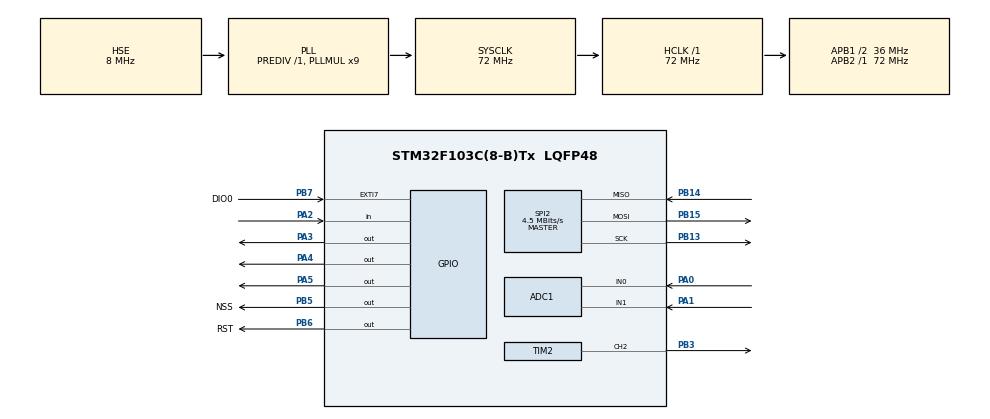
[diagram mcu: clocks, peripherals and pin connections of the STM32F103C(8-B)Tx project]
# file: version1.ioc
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ADC1.Channel-0\#ChannelRegularConversion=ADC_CHANNEL_0
ADC1.Channel-1\#ChannelRegularConversion=ADC_CHANNEL_1
ADC1.ContinuousConvMode=ENABLE
ADC1.NbrOfConversion=2
ADC1.NbrOfConversionFlag=1
ADC1.Rank-0\#ChannelRegularConversion=1
ADC1.Rank-1\#ChannelRegularConversion=2
ADC1.SamplingTime-0\#ChannelRegularConversion=ADC_SAMPLETIME_239CYCLES_5
ADC1.SamplingTime-1\#ChannelRegularConversion=ADC_SAMPLETIME_239CYCLES_5
ADC1.master=1
Dma.ADC1.0.Direction=DMA_PERIPH_TO_MEMORY
Dma.ADC1.0.Instance=DMA1_Channel1
Dma.ADC1.0.MemDataAlignment=DMA_MDATAALIGN_HALFWORD
Dma.ADC1.0.MemInc=DMA_MINC_ENABLE
Dma.ADC1.0.Mode=DMA_CIRCULAR
Dma.ADC1.0.PeriphDataAlignment=DMA_PDATAALIGN_HALFWORD
Dma.ADC1.0.PeriphInc=DMA_PINC_DISABLE
Dma.ADC1.0.Priority=DMA_PRIORITY_LOW
Dma.Request0=ADC1
FREERTOS.Tasks01=defaultTask,0,128,StartDefaultTask,Default,NULL,Dynamic,NULL,NULL
Mcu.Family=STM32F1
Mcu.Name=STM32F103C(8-B)Tx
Mcu.Package=LQFP48
NVIC.DMA1_Channel1_IRQn=true\:5\:0\:false\:false\:true\:true\:false\:true\:true
NVIC.PriorityGroup=NVIC_PRIORITYGROUP_4
NVIC.TIM4_IRQn=true\:15\:0\:false\:false\:true\:false\:false\:true\:true
NVIC.TimeBase=TIM4_IRQn
NVIC.TimeBaseIP=TIM4
PA0-WKUP.Signal=ADCx_IN0
PA1.Signal=ADCx_IN1
PA13.Mode=Serial_Wire
PA13.Signal=SYS_JTMS-SWDIO
PA14.Mode=Serial_Wire
PA14.Signal=SYS_JTCK-SWCLK
PA2.GPIO_PuPd=GPIO_PULLUP
PA2.Signal=GPIO_Input
PA3.Signal=GPIO_Output
PA4.PinState=GPIO_PIN_SET
PA4.Signal=GPIO_Output
PA5.PinState=GPIO_PIN_SET
PA5.Signal=GPIO_Output
PB13.Mode=Full_Duplex_Master
PB13.Signal=SPI2_SCK
PB14.Mode=Full_Duplex_Master
PB14.Signal=SPI2_MISO
PB15.Mode=Full_Duplex_Master
PB15.Signal=SPI2_MOSI
PB3.Signal=S_TIM2_CH2
PB5.GPIO_Label=NSS
PB5.PinState=GPIO_PIN_SET
PB5.Signal=GPIO_Output
PB6.GPIO_Label=RST
PB6.PinState=GPIO_PIN_SET
PB6.Signal=GPIO_Output
PB7.GPIO_Label=DIO0
PB7.GPIO_ModeDefaultEXTI=GPIO_MODE_IT_RISING
PB7.Signal=GPXTI7
PD0-OSC_IN.Mode=HSE-External-Oscillator
PD0-OSC_IN.Signal=RCC_OSC_IN
PD1-OSC_OUT.Mode=HSE-External-Oscillator
PD1-OSC_OUT.Signal=RCC_OSC_OUT
ProjectManager.HeapSize=0x200
ProjectManager.StackSize=0x400
ProjectManager.TargetToolchain=MDK-ARM V5.32
RCC.ADCPresc=RCC_ADCPCLK2_DIV6
RCC.AHBFreq_Value=72000000
RCC.APB1CLKDivider=RCC_HCLK_DIV2
RCC.APB1Freq_Value=36000000
RCC.APB1TimFreq_Value=72000000
RCC.APB2Freq_Value=72000000
RCC.APB2TimFreq_Value=72000000
RCC.HCLKFreq_Value=72000000
RCC.PLLMUL=RCC_PLL_MUL9
RCC.PLLSourceVirtual=RCC_PLLSOURCE_HSE
RCC.SYSCLKFreq_VALUE=72000000
RCC.SYSCLKSource=RCC_SYSCLKSOURCE_PLLCLK
RCC.USBFreq_Value=72000000
SH.ADCx_IN0.0=ADC1_IN0,IN0
SH.ADCx_IN1.0=ADC1_IN1,IN1
SH.S_TIM2_CH2.0=TIM2_CH2,PWM Generation2 CH2
SPI2.BaudRatePrescaler=SPI_BAUDRATEPRESCALER_8
SPI2.CalculateBaudRate=4.5 MBits/s
SPI2.Direction=SPI_DIRECTION_2LINES
SPI2.Mode=SPI_MODE_MASTER
SPI2.VirtualType=VM_MASTER
TIM2.Channel-PWM\ Generation2\ CH2=TIM_CHANNEL_2
TIM2.Period=1000-1
TIM2.Prescaler=1440-1
VP_FREERTOS_VS_CMSIS_V1.Mode=CMSIS_V1
VP_SYS_VS_tim4.Mode=TIM4
VP_TIM2_VS_ClockSourceINT.Mode=Internal
board=custom

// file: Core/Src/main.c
/* USER CODE BEGIN Header */
/**
  ******************************************************************************
  * @file           : main.c
  * @brief          : Main program body
  ******************************************************************************
  * @attention
  *
  * Copyright (c) 2023 STMicroelectronics.
  * All rights reserved.
  *
  * This software is licensed under terms that can be found in the LICENSE file
  * in the root directory of this software component.
  * If no LICENSE file comes with this software, it is provided AS-IS.
  *
  ******************************************************************************
  */
/* USER CODE END Header */
#include "main.h"
#include "cmsis_os.h"
#include "dht11.h"
#include "HX711_v1.h"
#include "LoRa.h"

/* USER CODE BEGIN PD */
//#define EVENT0 (1UL << 0)
#define EVENT0 (1UL << 0)
/* USER CODE END PD */

ADC_HandleTypeDef hadc1;
DMA_HandleTypeDef hdma_adc1;

SPI_HandleTypeDef hspi2;

TIM_HandleTypeDef htim2;

/* USER CODE BEGIN PV */
TaskHandle_t ADCTaskHandle;
TaskHandle_t LoRaTaskHandle;
TaskHandle_t DhtTaskHandle;
EventGroupHandle_t LoRaEventGroupHandle;
EventBits_t BitsToWaitForOn;

uint16_t adc[2];
uint8_t i;
uint8_t data_transmit[4] = {0, 0, 0, 0};
LoRa myLoRa;
uint8_t LoRa_state = 0;
uint8_t LoRa_flag = 0;
uint8_t Dht_flag = 0;
DHT_DataTypeDef DHT_Data;
uint8_t Hum, Tem;
/* USER CODE END PV */

void SystemClock_Config(void);
static void MX_GPIO_Init(void);
static void MX_DMA_Init(void);
static void MX_ADC1_Init(void);
static void MX_SPI2_Init(void);
static void MX_TIM2_Init(void);

/* USER CODE BEGIN PFP */
void ADCTask(void *param);

void LoRaTask(void *param);

void DhtTask(void *param);

/* USER CODE END PFP */

int main(void)
{

  /* MCU Configuration--------------------------------------------------------*/

  /* Reset of all peripherals, Initializes the Flash interface and the Systick. */
  HAL_Init();

  /* Configure the system clock */
  SystemClock_Config();

  /* Initialize all configured peripherals */
  MX_GPIO_Init();
  MX_DMA_Init();
  MX_ADC1_Init();
  MX_SPI2_Init();
  MX_TIM2_Init();
  /* USER CODE BEGIN 2 */

	/* Config LoRa */
	myLoRa = newLoRa();
	myLoRa.CS_port = NSS_GPIO_Port;
	myLoRa.CS_pin = NSS_Pin;
	myLoRa.reset_port = RST_GPIO_Port;
	myLoRa.reset_pin = RST_Pin;
	myLoRa.DIO0_port = DIO0_GPIO_Port;
	myLoRa.DIO0_pin = DIO0_Pin;
	myLoRa.hSPIx = &hspi2;

	myLoRa.frequency = 433;
	myLoRa.spredingFactor = SF_7;
	myLoRa.bandWidth = BW_125KHz;
	myLoRa.crcRate = CR_4_5;
	myLoRa.power = POWER_20db;
	myLoRa.overCurrentProtection = 130;
	myLoRa.preamble = 9;

	if(LoRa_init(&myLoRa) == LORA_OK)
	{
		LoRa_state = 1;
	}

	//LoRa_startReceiving(&myLoRa);

//	if(LoRa_transmit(&myLoRa, data_transmit, 5, 500))
//	{
//		LoRa_flag = 1;
//	}

  /* USER CODE END 2 */

  /* Create the thread(s) */
  /* definition and creation of defaultTask */
  //osThreadDef(defaultTask, StartDefaultTask, osPriorityNormal, 0, 128);
  //defaultTaskHandle = osThreadCreate(osThread(defaultTask), NULL);

  /* USER CODE BEGIN RTOS_THREADS */
	xTaskCreate(ADCTask, "Task02", 128, NULL, 4, &ADCTaskHandle);
	xTaskCreate(LoRaTask, "Task01", 128, NULL, 5, &LoRaTaskHandle);
	xTaskCreate(DhtTask, "Task03", 128, NULL, 3, &DhtTaskHandle);
  /* add threads, ... */
  /* USER CODE END RTOS_THREADS */

  /* Start scheduler */
  osKernelStart();
  /* We should never get here as control is now taken by the scheduler */
  /* Infinite loop */
  while (1)
  {

  }
}

void SystemClock_Config(void)
{
  RCC_OscInitTypeDef RCC_OscInitStruct = {0};
  RCC_ClkInitTypeDef RCC_ClkInitStruct = {0};
  RCC_PeriphCLKInitTypeDef PeriphClkInit = {0};

  /** Initializes the RCC Oscillators according to the specified parameters
  * in the RCC_OscInitTypeDef structure.
  */
  RCC_OscInitStruct.OscillatorType = RCC_OSCILLATORTYPE_HSE;
  RCC_OscInitStruct.HSEState = RCC_HSE_ON;
  RCC_OscInitStruct.HSEPredivValue = RCC_HSE_PREDIV_DIV1;
  RCC_OscInitStruct.HSIState = RCC_HSI_ON;
  RCC_OscInitStruct.PLL.PLLState = RCC_PLL_ON;
  RCC_OscInitStruct.PLL.PLLSource = RCC_PLLSOURCE_HSE;
  RCC_OscInitStruct.PLL.PLLMUL = RCC_PLL_MUL9;
  if (HAL_RCC_OscConfig(&RCC_OscInitStruct) != HAL_OK)
  {
    Error_Handler();
  }

  /** Initializes the CPU, AHB and APB buses clocks
  */
  RCC_ClkInitStruct.ClockType = RCC_CLOCKTYPE_HCLK|RCC_CLOCKTYPE_SYSCLK
                              |RCC_CLOCKTYPE_PCLK1|RCC_CLOCKTYPE_PCLK2;
  RCC_ClkInitStruct.SYSCLKSource = RCC_SYSCLKSOURCE_PLLCLK;
  RCC_ClkInitStruct.AHBCLKDivider = RCC_SYSCLK_DIV1;
  RCC_ClkInitStruct.APB1CLKDivider = RCC_HCLK_DIV2;
  RCC_ClkInitStruct.APB2CLKDivider = RCC_HCLK_DIV1;

  if (HAL_RCC_ClockConfig(&RCC_ClkInitStruct, FLASH_LATENCY_2) != HAL_OK)
  {
    Error_Handler();
  }
  PeriphClkInit.PeriphClockSelection = RCC_PERIPHCLK_ADC;
  PeriphClkInit.AdcClockSelection = RCC_ADCPCLK2_DIV6;
  if (HAL_RCCEx_PeriphCLKConfig(&PeriphClkInit) != HAL_OK)
  {
    Error_Handler();
  }
}

static void MX_ADC1_Init(void)
{

  ADC_ChannelConfTypeDef sConfig = {0};

  /** Common config
  */
  hadc1.Instance = ADC1;
  hadc1.Init.ScanConvMode = ADC_SCAN_ENABLE;
  hadc1.Init.ContinuousConvMode = ENABLE;
  hadc1.Init.DiscontinuousConvMode = DISABLE;
  hadc1.Init.ExternalTrigConv = ADC_SOFTWARE_START;
  hadc1.Init.DataAlign = ADC_DATAALIGN_RIGHT;
  hadc1.Init.NbrOfConversion = 2;
  if (HAL_ADC_Init(&hadc1) != HAL_OK)
  {
    Error_Handler();
  }

  /** Configure Regular Channel
  */
  sConfig.Channel = ADC_CHANNEL_0;
  sConfig.Rank = ADC_REGULAR_RANK_1;
  sConfig.SamplingTime = ADC_SAMPLETIME_239CYCLES_5;
  if (HAL_ADC_ConfigChannel(&hadc1, &sConfig) != HAL_OK)
  {
    Error_Handler();
  }

  /** Configure Regular Channel
  */
  sConfig.Channel = ADC_CHANNEL_1;
  sConfig.Rank = ADC_REGULAR_RANK_2;
  if (HAL_ADC_ConfigChannel(&hadc1, &sConfig) != HAL_OK)
  {
    Error_Handler();
  }

}

static void MX_SPI2_Init(void)
{

  /* SPI2 parameter configuration*/
  hspi2.Instance = SPI2;
  hspi2.Init.Mode = SPI_MODE_MASTER;
  hspi2.Init.Direction = SPI_DIRECTION_2LINES;
  hspi2.Init.DataSize = SPI_DATASIZE_8BIT;
  hspi2.Init.CLKPolarity = SPI_POLARITY_LOW;
  hspi2.Init.CLKPhase = SPI_PHASE_1EDGE;
  hspi2.Init.NSS = SPI_NSS_SOFT;
  hspi2.Init.BaudRatePrescaler = SPI_BAUDRATEPRESCALER_8;
  hspi2.Init.FirstBit = SPI_FIRSTBIT_MSB;
  hspi2.Init.TIMode = SPI_TIMODE_DISABLE;
  hspi2.Init.CRCCalculation = SPI_CRCCALCULATION_DISABLE;
  hspi2.Init.CRCPolynomial = 10;
  if (HAL_SPI_Init(&hspi2) != HAL_OK)
  {
    Error_Handler();
  }

}

static void MX_TIM2_Init(void)
{

  TIM_ClockConfigTypeDef sClockSourceConfig = {0};
  TIM_MasterConfigTypeDef sMasterConfig = {0};
  TIM_OC_InitTypeDef sConfigOC = {0};

  htim2.Instance = TIM2;
  htim2.Init.Prescaler = 1440-1;
  htim2.Init.CounterMode = TIM_COUNTERMODE_UP;
  htim2.Init.Period = 1000-1;
  htim2.Init.ClockDivision = TIM_CLOCKDIVISION_DIV1;
  htim2.Init.AutoReloadPreload = TIM_AUTORELOAD_PRELOAD_DISABLE;
  if (HAL_TIM_Base_Init(&htim2) != HAL_OK)
  {
    Error_Handler();
  }
  sClockSourceConfig.ClockSource = TIM_CLOCKSOURCE_INTERNAL;
  if (HAL_TIM_ConfigClockSource(&htim2, &sClockSourceConfig) != HAL_OK)
  {
    Error_Handler();
  }
  if (HAL_TIM_PWM_Init(&htim2) != HAL_OK)
  {
    Error_Handler();
  }
  sMasterConfig.MasterOutputTrigger = TIM_TRGO_RESET;
  sMasterConfig.MasterSlaveMode = TIM_MASTERSLAVEMODE_DISABLE;
  if (HAL_TIMEx_MasterConfigSynchronization(&htim2, &sMasterConfig) != HAL_OK)
  {
    Error_Handler();
  }
  sConfigOC.OCMode = TIM_OCMODE_PWM1;
  sConfigOC.Pulse = 0;
  sConfigOC.OCPolarity = TIM_OCPOLARITY_HIGH;
  sConfigOC.OCFastMode = TIM_OCFAST_DISABLE;
  if (HAL_TIM_PWM_ConfigChannel(&htim2, &sConfigOC, TIM_CHANNEL_2) != HAL_OK)
  {
    Error_Handler();
  }
  HAL_TIM_MspPostInit(&htim2);

}

static void MX_DMA_Init(void)
{

  /* DMA controller clock enable */
  __HAL_RCC_DMA1_CLK_ENABLE();

  /* DMA interrupt init */
  /* DMA1_Channel1_IRQn interrupt configuration */
  HAL_NVIC_SetPriority(DMA1_Channel1_IRQn, 5, 0);
  HAL_NVIC_EnableIRQ(DMA1_Channel1_IRQn);

}

static void MX_GPIO_Init(void)
{
  GPIO_InitTypeDef GPIO_InitStruct = {0};

  /* GPIO Ports Clock Enable */
  __HAL_RCC_GPIOD_CLK_ENABLE();
  __HAL_RCC_GPIOA_CLK_ENABLE();
  __HAL_RCC_GPIOB_CLK_ENABLE();

  /*Configure GPIO pin Output Level */
  HAL_GPIO_WritePin(GPIOA, GPIO_PIN_3, GPIO_PIN_RESET);

  /*Configure GPIO pin Output Level */
  HAL_GPIO_WritePin(GPIOA, GPIO_PIN_4|GPIO_PIN_5, GPIO_PIN_SET);

  /*Configure GPIO pin Output Level */
  HAL_GPIO_WritePin(GPIOB, NSS_Pin|RST_Pin, GPIO_PIN_SET);

  /*Configure GPIO pin : PA2 */
  GPIO_InitStruct.Pin = GPIO_PIN_2;
  GPIO_InitStruct.Mode = GPIO_MODE_INPUT;
  GPIO_InitStruct.Pull = GPIO_PULLUP;
  HAL_GPIO_Init(GPIOA, &GPIO_InitStruct);

  /*Configure GPIO pins : PA3 PA4 PA5 */
  GPIO_InitStruct.Pin = GPIO_PIN_3|GPIO_PIN_4|GPIO_PIN_5;
  GPIO_InitStruct.Mode = GPIO_MODE_OUTPUT_PP;
  GPIO_InitStruct.Pull = GPIO_NOPULL;
  GPIO_InitStruct.Speed = GPIO_SPEED_FREQ_LOW;
  HAL_GPIO_Init(GPIOA, &GPIO_InitStruct);

  /*Configure GPIO pins : NSS_Pin RST_Pin */
  GPIO_InitStruct.Pin = NSS_Pin|RST_Pin;
  GPIO_InitStruct.Mode = GPIO_MODE_OUTPUT_PP;
  GPIO_InitStruct.Pull = GPIO_NOPULL;
  GPIO_InitStruct.Speed = GPIO_SPEED_FREQ_LOW;
  HAL_GPIO_Init(GPIOB, &GPIO_InitStruct);

  /*Configure GPIO pin : DIO0_Pin */
  GPIO_InitStruct.Pin = DIO0_Pin;
  GPIO_InitStruct.Mode = GPIO_MODE_IT_RISING;
  GPIO_InitStruct.Pull = GPIO_NOPULL;
  HAL_GPIO_Init(DIO0_GPIO_Port, &GPIO_InitStruct);

}

/* USER CODE BEGIN 4 */
void ADCTask(void *param)
{
	HAL_ADC_Start_DMA(&hadc1, (uint32_t *) adc, 2);
	while(1)
	{

		if(adc[0] < 1000) // Cam bien hong ngoai
		{
			HAL_GPIO_WritePin(GPIOA, GPIO_PIN_4, GPIO_PIN_RESET);
			data_transmit[0] = 1;
		}
		else
		{
			HAL_GPIO_WritePin(GPIOA, GPIO_PIN_4, GPIO_PIN_SET);
			data_transmit[0] = 0;
		}

		if(adc[1] > 2900) // Quang tro
		{
			HAL_GPIO_WritePin(GPIOA, GPIO_PIN_5, GPIO_PIN_SET);
			data_transmit[1] = 1;
		}
		else if(adc[1] < 2400)
		{
			HAL_GPIO_WritePin(GPIOA, GPIO_PIN_5, GPIO_PIN_RESET);
			data_transmit[1] = 0;
		}
		osDelay(1000);
	}
}

void DhtTask(void *param)
{

	while(1)
	{
		DHT_Get_Data(&DHT_Data);
		Hum = DHT_Data.Humidity;
		Tem = DHT_Data.Temperature;
		data_transmit[2] = Hum;
		data_transmit[3] = Tem;
		Dht_flag++;
		osDelay(300);
		xEventGroupSetBits(LoRaEventGroupHandle, EVENT0);

	}
}

void LoRaTask(void *param)
{
	LoRaEventGroupHandle = xEventGroupCreate();
	while(1)
	{
  	BitsToWaitForOn = xEventGroupWaitBits(LoRaEventGroupHandle, EVENT0, pdTRUE, pdFALSE, osWaitForever);
		if((BitsToWaitForOn & EVENT0) != 0)
		{
			if(LoRa_transmit(&myLoRa, data_transmit, 4, 200) == 1)
			{
				LoRa_flag++;
			}
		}
	}
}

/* USER CODE END 4 */

//void StartDefaultTask(void const * argument)
//{
  /* USER CODE BEGIN 5 */
//////  /* Infinite loop */
//////  for(;;)
//////  {
//////    osDelay(1);
//////  }
  /* USER CODE END 5 */
//}

void HAL_TIM_PeriodElapsedCallback(TIM_HandleTypeDef *htim)
{
  if (htim->Instance == TIM4) {
    HAL_IncTick();
  }
}

void Error_Handler(void)
{
  __disable_irq();
  while (1)
  {
  }
}
